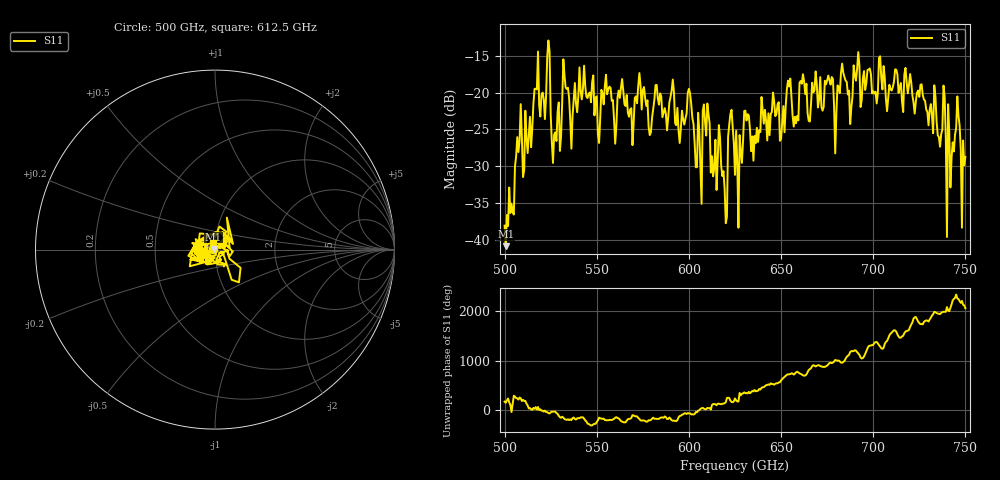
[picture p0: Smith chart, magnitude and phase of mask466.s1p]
!Created with skrf (http://scikit-rf.org).
# GHz S MA R 50.0
!freq magS11 angS11
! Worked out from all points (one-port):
!   401 points, 500 GHz to 750 GHz, reference 50 ohm
!   lowest |S11| = -40.9 dB at 500.6 GHz (marker M1), VSWR 1.02, Z = 49.2 + j0.395 ohm
!   |S11| at or under -10 dB: start of sweep to end of sweep
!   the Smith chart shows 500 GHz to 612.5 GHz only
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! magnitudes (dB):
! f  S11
! 500 GHz  -38.1
! 500.6 GHz  -40.9
! 507.5 GHz  -28.1
! 516.9 GHz  -19.5
! 523.8 GHz  -12.9
! 526.9 GHz  -25.7
! 531.2 GHz  -21.2
! 562.5 GHz  -20.7
! 579.4 GHz  -25.4
! 590.6 GHz  -19.7
! 593.8 GHz  -22.1
! 600.6 GHz  -20.1
! 605.6 GHz  -25.3
! 609.4 GHz  -25.8
! 619.4 GHz  -33.1
! 622.5 GHz  -22.9
! 625 GHz  -31.2
! 656.2 GHz  -23.1
! 676.9 GHz  -18.9
! 680 GHz  -22.7
! 683.8 GHz  -17.3
! 687.5 GHz  -24.3
! 690.6 GHz  -18.4
! 718.8 GHz  -20.1
! 738.1 GHz  -19.0
! 741.2 GHz  -25.4
! 745.6 GHz  -20.5
! 750 GHz  -28.7
